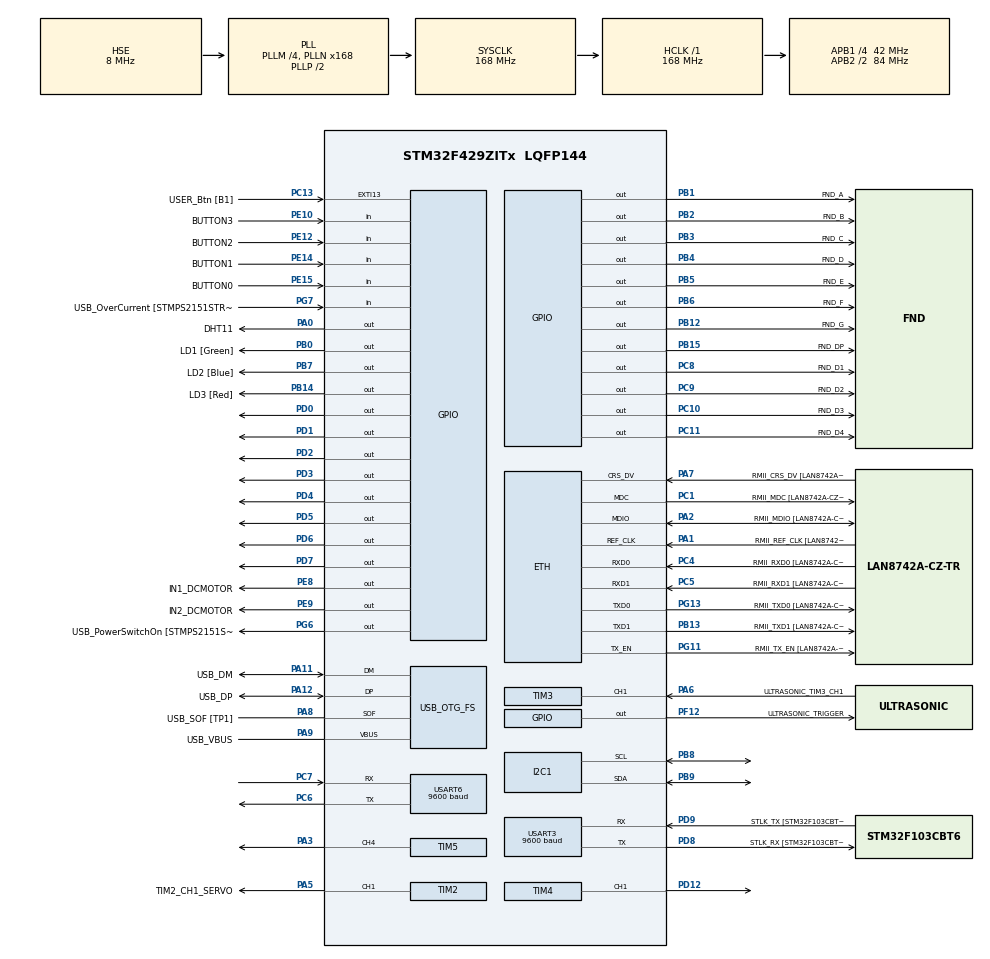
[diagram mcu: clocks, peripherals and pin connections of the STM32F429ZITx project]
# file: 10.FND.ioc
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ETH.MediaInterface=HAL_ETH_RMII_MODE
ETH.PHY_Name=LAN8742A_PHY_ADDRESS
ETH.PHY_Value=0
ETH.PhyAddress=0
Mcu.Family=STM32F4
Mcu.Name=STM32F429ZITx
Mcu.Package=LQFP144
NVIC.PriorityGroup=NVIC_PRIORITYGROUP_4
NVIC.TIM1_TRG_COM_TIM11_IRQn=true\:0\:0\:false\:false\:true\:true\:true\:true
NVIC.TIM1_UP_TIM10_IRQn=true\:0\:0\:false\:false\:true\:true\:true\:true
NVIC.TIM2_IRQn=true\:0\:0\:false\:false\:true\:true\:true\:true
NVIC.TIM3_IRQn=true\:0\:0\:false\:false\:true\:true\:true\:true
NVIC.TIM4_IRQn=true\:0\:0\:false\:false\:true\:true\:true\:true
NVIC.TIM5_IRQn=true\:0\:0\:false\:false\:true\:true\:true\:true
NVIC.USART3_IRQn=true\:0\:0\:false\:false\:true\:true\:true\:true
NVIC.USART6_IRQn=true\:0\:0\:false\:false\:true\:true\:true\:true
PA0/WKUP.GPIO_Label=DHT11
PA0/WKUP.Signal=GPIO_Output
PA1.GPIO_Label=RMII_REF_CLK [LAN8742A-CZ-TR_REFCLK0]
PA1.Mode=RMII
PA1.Signal=ETH_REF_CLK
PA10.GPIO_Label=USB_ID
PA10.Signal=USB_OTG_FS_ID
PA11.GPIO_Label=USB_DM
PA11.Mode=Device_Only
PA11.Signal=USB_OTG_FS_DM
PA12.GPIO_Label=USB_DP
PA12.Mode=Device_Only
PA12.Signal=USB_OTG_FS_DP
PA13.GPIO_Label=TMS
PA13.Mode=Serial_Wire
PA13.Signal=SYS_JTMS-SWDIO
PA14.GPIO_Label=TCK
PA14.Mode=Serial_Wire
PA14.Signal=SYS_JTCK-SWCLK
PA2.GPIO_Label=RMII_MDIO [LAN8742A-CZ-TR_MDIO]
PA2.Mode=RMII
PA2.Signal=ETH_MDIO
PA3.Signal=S_TIM5_CH4
PA5.GPIO_Label=TIM2_CH1_SERVO
PA5.Signal=S_TIM2_CH1_ETR
PA6.GPIO_Label=ULTRASONIC_TIM3_CH1
PA6.Signal=S_TIM3_CH1
PA7.GPIO_Label=RMII_CRS_DV [LAN8742A-CZ-TR_CRS_DV]
PA7.Mode=RMII
PA7.Signal=ETH_CRS_DV
PA8.GPIO_Label=USB_SOF [TP1]
PA8.Mode=Activate_SOF_FS
PA8.Signal=USB_OTG_FS_SOF
PA9.GPIO_Label=USB_VBUS
PA9.Mode=Activate_VBUS
PA9.Signal=USB_OTG_FS_VBUS
PB0.GPIO_Label=LD1 [Green]
PB0.Signal=GPIO_Output
PB1.GPIO_Label=FND_A
PB1.Signal=GPIO_Output
PB12.GPIO_Label=FND_G
PB12.Signal=GPIO_Output
PB13.GPIO_Label=RMII_TXD1 [LAN8742A-CZ-TR_TXD1]
PB13.Mode=RMII
PB13.Signal=ETH_TXD1
PB14.GPIO_Label=LD3 [Red]
PB14.Signal=GPIO_Output
PB15.GPIO_Label=FND_DP
PB15.Signal=GPIO_Output
PB2/BOOT1.GPIO_Label=FND_B
PB2/BOOT1.Signal=GPIO_Output
PB3.GPIO_Label=FND_C
PB3.Signal=GPIO_Output
PB4.GPIO_Label=FND_D
PB4.Signal=GPIO_Output
PB5.GPIO_Label=FND_E
PB5.Signal=GPIO_Output
PB6.GPIO_Label=FND_F
PB6.Signal=GPIO_Output
PB7.GPIO_Label=LD2 [Blue]
PB7.Signal=GPIO_Output
PB8.Mode=I2C
PB8.Signal=I2C1_SCL
PB9.Mode=I2C
PB9.Signal=I2C1_SDA
PC1.GPIO_Label=RMII_MDC [LAN8742A-CZ-TR_MDC]
PC1.Mode=RMII
PC1.Signal=ETH_MDC
PC10.GPIO_Label=FND_D3
PC10.Signal=GPIO_Output
PC11.GPIO_Label=FND_D4
PC11.Signal=GPIO_Output
PC13.GPIO_Label=USER_Btn [B1]
PC13.Signal=GPXTI13
PC14/OSC32_IN.Mode=LSE-External-Oscillator
PC14/OSC32_IN.Signal=RCC_OSC32_IN
PC15/OSC32_OUT.Mode=LSE-External-Oscillator
PC15/OSC32_OUT.Signal=RCC_OSC32_OUT
PC4.GPIO_Label=RMII_RXD0 [LAN8742A-CZ-TR_RXD0]
PC4.Mode=RMII
PC4.Signal=ETH_RXD0
PC5.GPIO_Label=RMII_RXD1 [LAN8742A-CZ-TR_RXD1]
PC5.Mode=RMII
PC5.Signal=ETH_RXD1
PC6.Mode=Asynchronous
PC6.Signal=USART6_TX
PC7.Mode=Asynchronous
PC7.Signal=USART6_RX
PC8.GPIO_Label=FND_D1
PC8.Signal=GPIO_Output
PC9.GPIO_Label=FND_D2
PC9.Signal=GPIO_Output
PD0.Signal=GPIO_Output
PD1.Signal=GPIO_Output
PD12.Signal=S_TIM4_CH1
PD2.Signal=GPIO_Output
PD3.Signal=GPIO_Output
PD4.Signal=GPIO_Output
PD5.Signal=GPIO_Output
PD6.Signal=GPIO_Output
PD7.Signal=GPIO_Output
PD8.GPIO_Label=STLK_RX [STM32F103CBT6_PA3]
PD8.Mode=Asynchronous
PD8.Signal=USART3_TX
PD9.GPIO_Label=STLK_TX [STM32F103CBT6_PA2]
PD9.Mode=Asynchronous
PD9.Signal=USART3_RX
PE10.GPIO_Label=BUTTON3
PE10.Signal=GPIO_Input
PE12.GPIO_Label=BUTTON2
PE12.Signal=GPIO_Input
PE14.GPIO_Label=BUTTON1
PE14.Signal=GPIO_Input
PE15.GPIO_Label=BUTTON0
PE15.Signal=GPIO_Input
PE8.GPIO_Label=IN1_DCMOTOR
PE8.Signal=GPIO_Output
PE9.GPIO_Label=IN2_DCMOTOR
PE9.Signal=GPIO_Output
PF12.GPIO_Label=ULTRASONIC_TRIGGER
PF12.Signal=GPIO_Output
PG11.GPIO_Label=RMII_TX_EN [LAN8742A-CZ-TR_TXEN]
PG11.Mode=RMII
PG11.Signal=ETH_TX_EN
PG13.GPIO_Label=RMII_TXD0 [LAN8742A-CZ-TR_TXD0]
PG13.Mode=RMII
PG13.Signal=ETH_TXD0
PG6.GPIO_Label=USB_PowerSwitchOn [STMPS2151STR_EN]
PG6.Signal=GPIO_Output
PG7.GPIO_Label=USB_OverCurrent [STMPS2151STR_FAULT]
PG7.Signal=GPIO_Input
PH0/OSC_IN.GPIO_Label=MCO [STM32F103CBT6_PA8]
PH0/OSC_IN.Mode=HSE-External-Clock-Source
PH0/OSC_IN.Signal=RCC_OSC_IN
PH1/OSC_OUT.Mode=HSE-External-Clock-Source
PH1/OSC_OUT.Signal=RCC_OSC_OUT
ProjectManager.HeapSize=0x200
ProjectManager.StackSize=0x400
ProjectManager.TargetToolchain=STM32CubeIDE
RCC.48MHZClocksFreq_Value=48000000
RCC.AHBFreq_Value=168000000
RCC.APB1CLKDivider=RCC_HCLK_DIV4
RCC.APB1Freq_Value=42000000
RCC.APB1TimFreq_Value=84000000
RCC.APB2CLKDivider=RCC_HCLK_DIV2
RCC.APB2Freq_Value=84000000
RCC.APB2TimCLKDivider=2
RCC.APB2TimFreq_Value=168000000
RCC.CortexFreq_Value=168000000
RCC.HCLKFreq_Value=168000000
RCC.HSE_VALUE=8000000
RCC.HSI_VALUE=16000000
RCC.PLLM=4
RCC.PLLMUL=RCC_PLL_MUL9
RCC.PLLN=168
RCC.PLLQ=7
RCC.PRESCALERUSB=RCC_USBCLKSOURCE_PLL_DIV1_5
RCC.SYSCLKFreq_VALUE=168000000
RCC.SYSCLKSource=RCC_SYSCLKSOURCE_PLLCLK
RCC.SYSCLKSourceVirtual=RCC_SYSCLKSOURCE_PLLCLK
RCC.USBFreq_Value=48000000
RCC.VCOOutputFreq_Value=336000000
RTC.Date=16
RTC.Format=RTC_FORMAT_BCD
RTC.Hours=9
RTC.Minutes=38
RTC.Month=RTC_MONTH_OCTOBER
RTC.Year=23
SH.S_TIM2_CH1_ETR.0=TIM2_CH1,PWM Generation1 CH1
SH.S_TIM3_CH1.0=TIM3_CH1,Input_Capture1_from_TI1
SH.S_TIM4_CH1.0=TIM4_CH1,PWM Generation1 CH1
SH.S_TIM5_CH4.0=TIM5_CH4,PWM Generation4 CH4
TIM10.Period=10000-1
TIM10.Prescaler=168-1
TIM11.Prescaler=168-1
TIM2.Channel-PWM\ Generation1\ CH1=TIM_CHANNEL_1
TIM2.Period=1000-1
TIM2.Prescaler=1680-1
TIM2.Pulse-PWM\ Generation1\ CH1=500-1
TIM3.Channel-Input_Capture1_from_TI1=TIM_CHANNEL_1
TIM3.ICPolarity_CH1=TIM_INPUTCHANNELPOLARITY_BOTHEDGE
TIM3.Prescaler=84-1
TIM4.Channel-PWM\ Generation1\ CH1=TIM_CHANNEL_1
TIM4.OCFastMode_PWM-PWM\ Generation1\ CH1=TIM_OCFAST_ENABLE
TIM4.Period=100-1
TIM4.Prescaler=840-1
TIM4.Pulse-PWM\ Generation1\ CH1=70-1
TIM5.Channel-PWM\ Generation4\ CH4=TIM_CHANNEL_4
TIM5.Period=400-1
TIM5.Prescaler=52.5-1
TIM5.Pulse-PWM\ Generation4\ CH4=200-1
USART3.BaudRate=9600
USART3.VirtualMode=VM_ASYNC
USART6.BaudRate=9600
USART6.VirtualMode=VM_ASYNC
USB_OTG_FS.VirtualMode=Device_Only
VP_RTC_VS_RTC_Activate.Mode=RTC_Enabled
VP_RTC_VS_RTC_Calendar.Mode=RTC_Calendar
VP_TIM10_VS_ClockSourceINT.Mode=Enable_Timer
VP_TIM11_VS_ClockSourceINT.Mode=Enable_Timer
VP_TIM4_VS_ClockSourceINT.Mode=Internal
VP_TIM5_VS_ClockSourceINT.Mode=Internal
board=NUCLEO-F429ZI

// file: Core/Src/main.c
/* USER CODE BEGIN Header */
/**
  ******************************************************************************
  * @file           : main.c
  * @brief          : Main program body
  ******************************************************************************
  * @attention
  *
  * Copyright (c) 2023 STMicroelectronics.
  * All rights reserved.
  *
  * This software is licensed under terms that can be found in the LICENSE file
  * in the root directory of this software component.
  * If no LICENSE file comes with this software, it is provided AS-IS.
  *
  ******************************************************************************
  */
/* USER CODE END Header */
#include "main.h"
#include "string.h"

ETH_TxPacketConfig TxConfig;
ETH_DMADescTypeDef  DMARxDscrTab[ETH_RX_DESC_CNT]; /* Ethernet Rx DMA Descriptors */
ETH_DMADescTypeDef  DMATxDscrTab[ETH_TX_DESC_CNT]; /* Ethernet Tx DMA Descriptors */

ETH_HandleTypeDef heth;

I2C_HandleTypeDef hi2c1;

RTC_HandleTypeDef hrtc;

TIM_HandleTypeDef htim2;
TIM_HandleTypeDef htim3;
TIM_HandleTypeDef htim4;
TIM_HandleTypeDef htim5;
TIM_HandleTypeDef htim10;
TIM_HandleTypeDef htim11;

UART_HandleTypeDef huart3;
UART_HandleTypeDef huart6;

PCD_HandleTypeDef hpcd_USB_OTG_FS;

/* USER CODE BEGIN PV */
uint8_t rx_data; // UART3 rx data
uint8_t bt_rx_data; // UART6 bluetooth(bt) rx data
/* USER CODE END PV */

void SystemClock_Config(void);
static void MX_GPIO_Init(void);
static void MX_ETH_Init(void);
static void MX_USART3_UART_Init(void);
static void MX_USB_OTG_FS_PCD_Init(void);
static void MX_USART6_UART_Init(void);
static void MX_TIM10_Init(void);
static void MX_TIM11_Init(void);
static void MX_TIM3_Init(void);
static void MX_I2C1_Init(void);
static void MX_TIM4_Init(void);
static void MX_TIM2_Init(void);
static void MX_RTC_Init(void);
static void MX_TIM5_Init(void);
/* USER CODE BEGIN PFP */
extern void led_main(void);
extern void button_main(void);
extern void pc_command_processing(void);
extern void bt_command_processing(void);

extern void DHT11_main(void);
extern void DHT11_Init(void);
extern void DHT11_processing(void);
extern void ultrasonic_processing(void);

extern void i2c_lcd_main(void);
extern void i2c_lcd_init(void);
extern void lcd_string(uint8_t *str);
extern void move_cursor(uint8_t row, uint8_t column);

extern void dcmotor_pwm_control(void);
extern void servo_motor_test_main(void);

extern void get_rtc(void);
extern void lcd_display_mode_select(void);
extern void set_time_button_UI(void);

extern void buzzer_main(void);
extern void fnd4digit_main(void);
extern void FND4digit_off(void);
extern void fnd4digit_sec_clock(void);

void delay_us (unsigned long us);
/* USER CODE END PFP */

/* USER CODE BEGIN 0 */
//--------------
// call by SysTick_Handler of stm32f4xx_it.c
// ARM default timer
// enter here every 1ms
volatile int t1ms_counter = 0;
volatile int fnd1ms_counter = 0;
void HAL_STSTICK_Handler(void)
{
	t1ms_counter++; // 1ms timer
	fnd1ms_counter++;
}

// move from Driver/STM32F4xx_HAL_Driver/stm32f4xx_hal_tim.c to here
// enter here when every timer interrupt occurs
volatile int TIM10_10ms_counter = 0;
volatile int TIM10_10ms_ultrasonic = 0;
void HAL_TIM_PeriodElapsedCallback(TIM_HandleTypeDef *htim)
{
	if (htim->Instance == TIM10)
	{
		TIM10_10ms_counter++; // timer for LED
		TIM10_10ms_ultrasonic++; // timer for ultrasonic trigger
	}
}

// function implement that extern from DHT11.c
void delay_us (unsigned long us)
{
	__HAL_TIM_SET_COUNTER(&htim11, 0); // tim11 clear // H/W counter...

	while(__HAL_TIM_GET_COUNTER(&htim11) < us)
		;

}

//----------  printf start ----------
#ifdef __GNUC__
/* With GCC, small printf (option LD Linker->Libraries->Small printf
   set to 'Yes') calls __io_putchar() */
#define PUTCHAR_PROTOTYPE int __io_putchar(int ch)
#else
#define PUTCHAR_PROTOTYPE int fputc(int ch, FILE *f)
#endif /* __GNUC_ */
/**
  * @brief  Retargets the C library printf function to the USART.
  * @param  None
  * @retval None
  */
PUTCHAR_PROTOTYPE   // Add for printf
{
  /* Place your implementation of fputc here */
  /* e.g. write a character to the USART3 and Loop until the end of transmission */
  HAL_UART_Transmit(&huart3, (uint8_t *)&ch, 1, 0xFFFF);

  return ch;
}
//----------  printf end ----------

/* USER CODE END 0 */

int main(void)
{

  /* MCU Configuration--------------------------------------------------------*/

  /* Reset of all peripherals, Initializes the Flash interface and the Systick. */
  HAL_Init();

  /* Configure the system clock */
  SystemClock_Config();

  /* Initialize all configured peripherals */
  MX_GPIO_Init();
  MX_ETH_Init();
  MX_USART3_UART_Init();
  MX_USB_OTG_FS_PCD_Init();
  MX_USART6_UART_Init();
  MX_TIM10_Init();
  MX_TIM11_Init();
  MX_TIM3_Init();
  MX_I2C1_Init();
  MX_TIM4_Init();
  MX_TIM2_Init();
  MX_RTC_Init();
  MX_TIM5_Init();
  /* USER CODE BEGIN 2 */
  printf("main() start!!\n");

  DHT11_Init();
  i2c_lcd_init();

  /////////////
  FND4digit_off(); // init for fnd4digit_sec_clock() on main()'s infinite while loop__add_kenGwon1017
  /////////////

  HAL_UART_Receive_IT(&huart3, &rx_data, 1); // RX huart3�???????????? ?��?��?��?�� interrupt ?��?��?��
  HAL_UART_Receive_IT(&huart6, &bt_rx_data, 1); // RX huart6�???????????? ?��?��?��?�� interrupt ?��?��?��

  HAL_TIM_Base_Start_IT(&htim10); // add_kenGwon_1011
  HAL_TIM_Base_Start_IT(&htim11); // add_kenGwon_1011
  HAL_TIM_IC_Start_IT(&htim3, TIM_CHANNEL_1); // for count pulse(InputCapture between rising edge & falling edge) add_kenGwon_1012
  HAL_TIM_PWM_Start_IT(&htim4, TIM_CHANNEL_1); // for DC motor PWM control add_kenGwon_1013
  HAL_TIM_PWM_Start(&htim2, TIM_CHANNEL_1); //for SERVO motor PWM control add_kenGwon_1013

  HAL_TIM_PWM_Start(&htim5, TIM_CHANNEL_4); // for buzzer PWM control add_kenGwon_1016
  /* USER CODE END 2 */

  /* Infinite loop */
  /* USER CODE BEGIN WHILE */

//  led_main();
//  i2c_lcd_main();
//  DHT11_main();
//  servo_motor_test_main();
//  buzzer_main();
//  fnd4digit_main();

  TIM10_10ms_counter = 0;

  while (1)
  {
	  DHT11_processing();
	  ultrasonic_processing();

	  pc_command_processing();
	  bt_command_processing();

//	  dcmotor_pwm_control();

	  get_rtc();

	  lcd_display_mode_select();
	  set_time_button_UI();

	  fnd4digit_sec_clock();

    /* USER CODE END WHILE */

  }
}

void SystemClock_Config(void)
{
  RCC_OscInitTypeDef RCC_OscInitStruct = {0};
  RCC_ClkInitTypeDef RCC_ClkInitStruct = {0};

  /** Configure the main internal regulator output voltage
  */
  __HAL_RCC_PWR_CLK_ENABLE();
  __HAL_PWR_VOLTAGESCALING_CONFIG(PWR_REGULATOR_VOLTAGE_SCALE1);

  /** Initializes the RCC Oscillators according to the specified parameters
  * in the RCC_OscInitTypeDef structure.
  */
  RCC_OscInitStruct.OscillatorType = RCC_OSCILLATORTYPE_LSI|RCC_OSCILLATORTYPE_HSE;
  RCC_OscInitStruct.HSEState = RCC_HSE_BYPASS;
  RCC_OscInitStruct.LSIState = RCC_LSI_ON;
  RCC_OscInitStruct.PLL.PLLState = RCC_PLL_ON;
  RCC_OscInitStruct.PLL.PLLSource = RCC_PLLSOURCE_HSE;
  RCC_OscInitStruct.PLL.PLLM = 4;
  RCC_OscInitStruct.PLL.PLLN = 168;
  RCC_OscInitStruct.PLL.PLLP = RCC_PLLP_DIV2;
  RCC_OscInitStruct.PLL.PLLQ = 7;
  if (HAL_RCC_OscConfig(&RCC_OscInitStruct) != HAL_OK)
  {
    Error_Handler();
  }

  /** Initializes the CPU, AHB and APB buses clocks
  */
  RCC_ClkInitStruct.ClockType = RCC_CLOCKTYPE_HCLK|RCC_CLOCKTYPE_SYSCLK
                              |RCC_CLOCKTYPE_PCLK1|RCC_CLOCKTYPE_PCLK2;
  RCC_ClkInitStruct.SYSCLKSource = RCC_SYSCLKSOURCE_PLLCLK;
  RCC_ClkInitStruct.AHBCLKDivider = RCC_SYSCLK_DIV1;
  RCC_ClkInitStruct.APB1CLKDivider = RCC_HCLK_DIV4;
  RCC_ClkInitStruct.APB2CLKDivider = RCC_HCLK_DIV2;

  if (HAL_RCC_ClockConfig(&RCC_ClkInitStruct, FLASH_LATENCY_5) != HAL_OK)
  {
    Error_Handler();
  }
}

static void MX_ETH_Init(void)
{

   static uint8_t MACAddr[6];

  heth.Instance = ETH;
  MACAddr[0] = 0x00;
  MACAddr[1] = 0x80;
  MACAddr[2] = 0xE1;
  MACAddr[3] = 0x00;
  MACAddr[4] = 0x00;
  MACAddr[5] = 0x00;
  heth.Init.MACAddr = &MACAddr[0];
  heth.Init.MediaInterface = HAL_ETH_RMII_MODE;
  heth.Init.TxDesc = DMATxDscrTab;
  heth.Init.RxDesc = DMARxDscrTab;
  heth.Init.RxBuffLen = 1524;

  if (HAL_ETH_Init(&heth) != HAL_OK)
  {
    Error_Handler();
  }

  memset(&TxConfig, 0 , sizeof(ETH_TxPacketConfig));
  TxConfig.Attributes = ETH_TX_PACKETS_FEATURES_CSUM | ETH_TX_PACKETS_FEATURES_CRCPAD;
  TxConfig.ChecksumCtrl = ETH_CHECKSUM_IPHDR_PAYLOAD_INSERT_PHDR_CALC;
  TxConfig.CRCPadCtrl = ETH_CRC_PAD_INSERT;

}

static void MX_I2C1_Init(void)
{

  hi2c1.Instance = I2C1;
  hi2c1.Init.ClockSpeed = 100000;
  hi2c1.Init.DutyCycle = I2C_DUTYCYCLE_2;
  hi2c1.Init.OwnAddress1 = 0;
  hi2c1.Init.AddressingMode = I2C_ADDRESSINGMODE_7BIT;
  hi2c1.Init.DualAddressMode = I2C_DUALADDRESS_DISABLE;
  hi2c1.Init.OwnAddress2 = 0;
  hi2c1.Init.GeneralCallMode = I2C_GENERALCALL_DISABLE;
  hi2c1.Init.NoStretchMode = I2C_NOSTRETCH_DISABLE;
  if (HAL_I2C_Init(&hi2c1) != HAL_OK)
  {
    Error_Handler();
  }

  /** Configure Analogue filter
  */
  if (HAL_I2CEx_ConfigAnalogFilter(&hi2c1, I2C_ANALOGFILTER_ENABLE) != HAL_OK)
  {
    Error_Handler();
  }

  /** Configure Digital filter
  */
  if (HAL_I2CEx_ConfigDigitalFilter(&hi2c1, 0) != HAL_OK)
  {
    Error_Handler();
  }

}

static void MX_RTC_Init(void)
{

  RTC_TimeTypeDef sTime = {0};
  RTC_DateTypeDef sDate = {0};

  /** Initialize RTC Only
  */
  hrtc.Instance = RTC;
  hrtc.Init.HourFormat = RTC_HOURFORMAT_24;
  hrtc.Init.AsynchPrediv = 127;
  hrtc.Init.SynchPrediv = 255;
  hrtc.Init.OutPut = RTC_OUTPUT_DISABLE;
  hrtc.Init.OutPutPolarity = RTC_OUTPUT_POLARITY_HIGH;
  hrtc.Init.OutPutType = RTC_OUTPUT_TYPE_OPENDRAIN;
  if (HAL_RTC_Init(&hrtc) != HAL_OK)
  {
    Error_Handler();
  }

  /** Initialize RTC and set the Time and Date
  */
  sTime.Hours = 0x9;
  sTime.Minutes = 0x38;
  sTime.Seconds = 0x0;
  sTime.DayLightSaving = RTC_DAYLIGHTSAVING_NONE;
  sTime.StoreOperation = RTC_STOREOPERATION_RESET;
  if (HAL_RTC_SetTime(&hrtc, &sTime, RTC_FORMAT_BCD) != HAL_OK)
  {
    Error_Handler();
  }
  sDate.WeekDay = RTC_WEEKDAY_MONDAY;
  sDate.Month = RTC_MONTH_OCTOBER;
  sDate.Date = 0x16;
  sDate.Year = 0x23;

  if (HAL_RTC_SetDate(&hrtc, &sDate, RTC_FORMAT_BCD) != HAL_OK)
  {
    Error_Handler();
  }

}

static void MX_TIM2_Init(void)
{

  TIM_MasterConfigTypeDef sMasterConfig = {0};
  TIM_OC_InitTypeDef sConfigOC = {0};

  htim2.Instance = TIM2;
  htim2.Init.Prescaler = 1680-1;
  htim2.Init.CounterMode = TIM_COUNTERMODE_UP;
  htim2.Init.Period = 1000-1;
  htim2.Init.ClockDivision = TIM_CLOCKDIVISION_DIV1;
  htim2.Init.AutoReloadPreload = TIM_AUTORELOAD_PRELOAD_DISABLE;
  if (HAL_TIM_PWM_Init(&htim2) != HAL_OK)
  {
    Error_Handler();
  }
  sMasterConfig.MasterOutputTrigger = TIM_TRGO_RESET;
  sMasterConfig.MasterSlaveMode = TIM_MASTERSLAVEMODE_DISABLE;
  if (HAL_TIMEx_MasterConfigSynchronization(&htim2, &sMasterConfig) != HAL_OK)
  {
    Error_Handler();
  }
  sConfigOC.OCMode = TIM_OCMODE_PWM1;
  sConfigOC.Pulse = 500-1;
  sConfigOC.OCPolarity = TIM_OCPOLARITY_HIGH;
  sConfigOC.OCFastMode = TIM_OCFAST_DISABLE;
  if (HAL_TIM_PWM_ConfigChannel(&htim2, &sConfigOC, TIM_CHANNEL_1) != HAL_OK)
  {
    Error_Handler();
  }
  HAL_TIM_MspPostInit(&htim2);

}

static void MX_TIM3_Init(void)
{

  TIM_MasterConfigTypeDef sMasterConfig = {0};
  TIM_IC_InitTypeDef sConfigIC = {0};

  htim3.Instance = TIM3;
  htim3.Init.Prescaler = 84-1;
  htim3.Init.CounterMode = TIM_COUNTERMODE_UP;
  htim3.Init.Period = 65535;
  htim3.Init.ClockDivision = TIM_CLOCKDIVISION_DIV1;
  htim3.Init.AutoReloadPreload = TIM_AUTORELOAD_PRELOAD_DISABLE;
  if (HAL_TIM_IC_Init(&htim3) != HAL_OK)
  {
    Error_Handler();
  }
  sMasterConfig.MasterOutputTrigger = TIM_TRGO_RESET;
  sMasterConfig.MasterSlaveMode = TIM_MASTERSLAVEMODE_DISABLE;
  if (HAL_TIMEx_MasterConfigSynchronization(&htim3, &sMasterConfig) != HAL_OK)
  {
    Error_Handler();
  }
  sConfigIC.ICPolarity = TIM_INPUTCHANNELPOLARITY_BOTHEDGE;
  sConfigIC.ICSelection = TIM_ICSELECTION_DIRECTTI;
  sConfigIC.ICPrescaler = TIM_ICPSC_DIV1;
  sConfigIC.ICFilter = 0;
  if (HAL_TIM_IC_ConfigChannel(&htim3, &sConfigIC, TIM_CHANNEL_1) != HAL_OK)
  {
    Error_Handler();
  }

}

static void MX_TIM4_Init(void)
{

  TIM_ClockConfigTypeDef sClockSourceConfig = {0};
  TIM_MasterConfigTypeDef sMasterConfig = {0};
  TIM_OC_InitTypeDef sConfigOC = {0};

  htim4.Instance = TIM4;
  htim4.Init.Prescaler = 840-1;
  htim4.Init.CounterMode = TIM_COUNTERMODE_UP;
  htim4.Init.Period = 100-1;
  htim4.Init.ClockDivision = TIM_CLOCKDIVISION_DIV1;
  htim4.Init.AutoReloadPreload = TIM_AUTORELOAD_PRELOAD_DISABLE;
  if (HAL_TIM_Base_Init(&htim4) != HAL_OK)
  {
    Error_Handler();
  }
  sClockSourceConfig.ClockSource = TIM_CLOCKSOURCE_INTERNAL;
  if (HAL_TIM_ConfigClockSource(&htim4, &sClockSourceConfig) != HAL_OK)
  {
    Error_Handler();
  }
  if (HAL_TIM_PWM_Init(&htim4) != HAL_OK)
  {
    Error_Handler();
  }
  sMasterConfig.MasterOutputTrigger = TIM_TRGO_RESET;
  sMasterConfig.MasterSlaveMode = TIM_MASTERSLAVEMODE_DISABLE;
  if (HAL_TIMEx_MasterConfigSynchronization(&htim4, &sMasterConfig) != HAL_OK)
  {
    Error_Handler();
  }
  sConfigOC.OCMode = TIM_OCMODE_PWM1;
  sConfigOC.Pulse = 70-1;
  sConfigOC.OCPolarity = TIM_OCPOLARITY_HIGH;
  sConfigOC.OCFastMode = TIM_OCFAST_ENABLE;
  if (HAL_TIM_PWM_ConfigChannel(&htim4, &sConfigOC, TIM_CHANNEL_1) != HAL_OK)
  {
    Error_Handler();
  }
  HAL_TIM_MspPostInit(&htim4);

}

static void MX_TIM5_Init(void)
{

  TIM_ClockConfigTypeDef sClockSourceConfig = {0};
  TIM_MasterConfigTypeDef sMasterConfig = {0};
  TIM_OC_InitTypeDef sConfigOC = {0};

  htim5.Instance = TIM5;
  htim5.Init.Prescaler = 52.5-1;
  htim5.Init.CounterMode = TIM_COUNTERMODE_UP;
  htim5.Init.Period = 400-1;
  htim5.Init.ClockDivision = TIM_CLOCKDIVISION_DIV1;
  htim5.Init.AutoReloadPreload = TIM_AUTORELOAD_PRELOAD_DISABLE;
  if (HAL_TIM_Base_Init(&htim5) != HAL_OK)
  {
    Error_Handler();
  }
  sClockSourceConfig.ClockSource = TIM_CLOCKSOURCE_INTERNAL;
  if (HAL_TIM_ConfigClockSource(&htim5, &sClockSourceConfig) != HAL_OK)
  {
    Error_Handler();
  }
  if (HAL_TIM_PWM_Init(&htim5) != HAL_OK)
  {
    Error_Handler();
  }
  sMasterConfig.MasterOutputTrigger = TIM_TRGO_RESET;
  sMasterConfig.MasterSlaveMode = TIM_MASTERSLAVEMODE_DISABLE;
  if (HAL_TIMEx_MasterConfigSynchronization(&htim5, &sMasterConfig) != HAL_OK)
  {
    Error_Handler();
  }
  sConfigOC.OCMode = TIM_OCMODE_PWM1;
  sConfigOC.Pulse = 200-1;
  sConfigOC.OCPolarity = TIM_OCPOLARITY_HIGH;
  sConfigOC.OCFastMode = TIM_OCFAST_DISABLE;
  if (HAL_TIM_PWM_ConfigChannel(&htim5, &sConfigOC, TIM_CHANNEL_4) != HAL_OK)
  {
    Error_Handler();
  }
  HAL_TIM_MspPostInit(&htim5);

}

static void MX_TIM10_Init(void)
{

  htim10.Instance = TIM10;
  htim10.Init.Prescaler = 168-1;
  htim10.Init.CounterMode = TIM_COUNTERMODE_UP;
  htim10.Init.Period = 10000-1;
  htim10.Init.ClockDivision = TIM_CLOCKDIVISION_DIV1;
  htim10.Init.AutoReloadPreload = TIM_AUTORELOAD_PRELOAD_DISABLE;
  if (HAL_TIM_Base_Init(&htim10) != HAL_OK)
  {
    Error_Handler();
  }

}

static void MX_TIM11_Init(void)
{

  htim11.Instance = TIM11;
  htim11.Init.Prescaler = 168-1;
  htim11.Init.CounterMode = TIM_COUNTERMODE_UP;
  htim11.Init.Period = 65535;
  htim11.Init.ClockDivision = TIM_CLOCKDIVISION_DIV1;
  htim11.Init.AutoReloadPreload = TIM_AUTORELOAD_PRELOAD_DISABLE;
  if (HAL_TIM_Base_Init(&htim11) != HAL_OK)
  {
    Error_Handler();
  }

}

static void MX_USART3_UART_Init(void)
{

  huart3.Instance = USART3;
  huart3.Init.BaudRate = 9600;
  huart3.Init.WordLength = UART_WORDLENGTH_8B;
  huart3.Init.StopBits = UART_STOPBITS_1;
  huart3.Init.Parity = UART_PARITY_NONE;
  huart3.Init.Mode = UART_MODE_TX_RX;
  huart3.Init.HwFlowCtl = UART_HWCONTROL_NONE;
  huart3.Init.OverSampling = UART_OVERSAMPLING_16;
  if (HAL_UART_Init(&huart3) != HAL_OK)
  {
    Error_Handler();
  }

}

static void MX_USART6_UART_Init(void)
{

  huart6.Instance = USART6;
  huart6.Init.BaudRate = 9600;
  huart6.Init.WordLength = UART_WORDLENGTH_8B;
  huart6.Init.StopBits = UART_STOPBITS_1;
  huart6.Init.Parity = UART_PARITY_NONE;
  huart6.Init.Mode = UART_MODE_TX_RX;
  huart6.Init.HwFlowCtl = UART_HWCONTROL_NONE;
  huart6.Init.OverSampling = UART_OVERSAMPLING_16;
  if (HAL_UART_Init(&huart6) != HAL_OK)
  {
    Error_Handler();
  }

}

static void MX_USB_OTG_FS_PCD_Init(void)
{

  hpcd_USB_OTG_FS.Instance = USB_OTG_FS;
  hpcd_USB_OTG_FS.Init.dev_endpoints = 4;
  hpcd_USB_OTG_FS.Init.speed = PCD_SPEED_FULL;
  hpcd_USB_OTG_FS.Init.dma_enable = DISABLE;
  hpcd_USB_OTG_FS.Init.phy_itface = PCD_PHY_EMBEDDED;
  hpcd_USB_OTG_FS.Init.Sof_enable = ENABLE;
  hpcd_USB_OTG_FS.Init.low_power_enable = DISABLE;
  hpcd_USB_OTG_FS.Init.lpm_enable = DISABLE;
  hpcd_USB_OTG_FS.Init.vbus_sensing_enable = ENABLE;
  hpcd_USB_OTG_FS.Init.use_dedicated_ep1 = DISABLE;
  if (HAL_PCD_Init(&hpcd_USB_OTG_FS) != HAL_OK)
  {
    Error_Handler();
  }

}

static void MX_GPIO_Init(void)
{
  GPIO_InitTypeDef GPIO_InitStruct = {0};

  /* GPIO Ports Clock Enable */
  __HAL_RCC_GPIOC_CLK_ENABLE();
  __HAL_RCC_GPIOH_CLK_ENABLE();
  __HAL_RCC_GPIOA_CLK_ENABLE();
  __HAL_RCC_GPIOB_CLK_ENABLE();
  __HAL_RCC_GPIOF_CLK_ENABLE();
  __HAL_RCC_GPIOE_CLK_ENABLE();
  __HAL_RCC_GPIOD_CLK_ENABLE();
  __HAL_RCC_GPIOG_CLK_ENABLE();

  /*Configure GPIO pin Output Level */
  HAL_GPIO_WritePin(DHT11_GPIO_Port, DHT11_Pin, GPIO_PIN_RESET);

  /*Configure GPIO pin Output Level */
  HAL_GPIO_WritePin(GPIOB, LD1_Pin|FND_A_Pin|FND_B_Pin|FND_G_Pin
                          |LD3_Pin|FND_DP_Pin|FND_C_Pin|FND_D_Pin
                          |FND_E_Pin|FND_F_Pin|LD2_Pin, GPIO_PIN_RESET);

  /*Configure GPIO pin Output Level */
  HAL_GPIO_WritePin(ULTRASONIC_TRIGGER_GPIO_Port, ULTRASONIC_TRIGGER_Pin, GPIO_PIN_RESET);

  /*Configure GPIO pin Output Level */
  HAL_GPIO_WritePin(GPIOE, IN1_DCMOTOR_Pin|IN2_DCMOTOR_Pin, GPIO_PIN_RESET);

  /*Configure GPIO pin Output Level */
  HAL_GPIO_WritePin(USB_PowerSwitchOn_GPIO_Port, USB_PowerSwitchOn_Pin, GPIO_PIN_RESET);

  /*Configure GPIO pin Output Level */
  HAL_GPIO_WritePin(GPIOC, FND_D1_Pin|FND_D2_Pin|FND_D3_Pin|FND_D4_Pin, GPIO_PIN_RESET);

  /*Configure GPIO pin Output Level */
  HAL_GPIO_WritePin(GPIOD, GPIO_PIN_0|GPIO_PIN_1|GPIO_PIN_2|GPIO_PIN_3
                          |GPIO_PIN_4|GPIO_PIN_5|GPIO_PIN_6|GPIO_PIN_7, GPIO_PIN_RESET);

  /*Configure GPIO pin : USER_Btn_Pin */
  GPIO_InitStruct.Pin = USER_Btn_Pin;
  GPIO_InitStruct.Mode = GPIO_MODE_IT_RISING;
  GPIO_InitStruct.Pull = GPIO_NOPULL;
  HAL_GPIO_Init(USER_Btn_GPIO_Port, &GPIO_InitStruct);

  /*Configure GPIO pin : DHT11_Pin */
  GPIO_InitStruct.Pin = DHT11_Pin;
  GPIO_InitStruct.Mode = GPIO_MODE_OUTPUT_PP;
  GPIO_InitStruct.Pull = GPIO_NOPULL;
  GPIO_InitStruct.Speed = GPIO_SPEED_FREQ_LOW;
  HAL_GPIO_Init(DHT11_GPIO_Port, &GPIO_InitStruct);

  /*Configure GPIO pins : LD1_Pin FND_A_Pin FND_B_Pin FND_G_Pin
                           LD3_Pin FND_DP_Pin FND_C_Pin FND_D_Pin
                           FND_E_Pin FND_F_Pin LD2_Pin */
  GPIO_InitStruct.Pin = LD1_Pin|FND_A_Pin|FND_B_Pin|FND_G_Pin
                          |LD3_Pin|FND_DP_Pin|FND_C_Pin|FND_D_Pin
                          |FND_E_Pin|FND_F_Pin|LD2_Pin;
  GPIO_InitStruct.Mode = GPIO_MODE_OUTPUT_PP;
  GPIO_InitStruct.Pull = GPIO_NOPULL;
  GPIO_InitStruct.Speed = GPIO_SPEED_FREQ_LOW;
  HAL_GPIO_Init(GPIOB, &GPIO_InitStruct);

  /*Configure GPIO pin : ULTRASONIC_TRIGGER_Pin */
  GPIO_InitStruct.Pin = ULTRASONIC_TRIGGER_Pin;
  GPIO_InitStruct.Mode = GPIO_MODE_OUTPUT_PP;
  GPIO_InitStruct.Pull = GPIO_NOPULL;
  GPIO_InitStruct.Speed = GPIO_SPEED_FREQ_LOW;
  HAL_GPIO_Init(ULTRASONIC_TRIGGER_GPIO_Port, &GPIO_InitStruct);

  /*Configure GPIO pins : IN1_DCMOTOR_Pin IN2_DCMOTOR_Pin */
  GPIO_InitStruct.Pin = IN1_DCMOTOR_Pin|IN2_DCMOTOR_Pin;
  GPIO_InitStruct.Mode = GPIO_MODE_OUTPUT_PP;
  GPIO_InitStruct.Pull = GPIO_NOPULL;
  GPIO_InitStruct.Speed = GPIO_SPEED_FREQ_LOW;
  HAL_GPIO_Init(GPIOE, &GPIO_InitStruct);

  /*Configure GPIO pins : BUTTON3_Pin BUTTON2_Pin BUTTON1_Pin BUTTON0_Pin */
  GPIO_InitStruct.Pin = BUTTON3_Pin|BUTTON2_Pin|BUTTON1_Pin|BUTTON0_Pin;
  GPIO_InitStruct.Mode = GPIO_MODE_INPUT;
  GPIO_InitStruct.Pull = GPIO_NOPULL;
  HAL_GPIO_Init(GPIOE, &GPIO_InitStruct);

  /*Configure GPIO pin : USB_PowerSwitchOn_Pin */
  GPIO_InitStruct.Pin = USB_PowerSwitchOn_Pin;
  GPIO_InitStruct.Mode = GPIO_MODE_OUTPUT_PP;
  GPIO_InitStruct.Pull = GPIO_NOPULL;
  GPIO_InitStruct.Speed = GPIO_SPEED_FREQ_LOW;
  HAL_GPIO_Init(USB_PowerSwitchOn_GPIO_Port, &GPIO_InitStruct);

  /*Configure GPIO pin : USB_OverCurrent_Pin */
  GPIO_InitStruct.Pin = USB_OverCurrent_Pin;
  GPIO_InitStruct.Mode = GPIO_MODE_INPUT;
  GPIO_InitStruct.Pull = GPIO_NOPULL;
  HAL_GPIO_Init(USB_OverCurrent_GPIO_Port, &GPIO_InitStruct);

  /*Configure GPIO pins : FND_D1_Pin FND_D2_Pin FND_D3_Pin FND_D4_Pin */
  GPIO_InitStruct.Pin = FND_D1_Pin|FND_D2_Pin|FND_D3_Pin|FND_D4_Pin;
  GPIO_InitStruct.Mode = GPIO_MODE_OUTPUT_PP;
  GPIO_InitStruct.Pull = GPIO_NOPULL;
  GPIO_InitStruct.Speed = GPIO_SPEED_FREQ_LOW;
  HAL_GPIO_Init(GPIOC, &GPIO_InitStruct);

  /*Configure GPIO pins : PD0 PD1 PD2 PD3
                           PD4 PD5 PD6 PD7 */
  GPIO_InitStruct.Pin = GPIO_PIN_0|GPIO_PIN_1|GPIO_PIN_2|GPIO_PIN_3
                          |GPIO_PIN_4|GPIO_PIN_5|GPIO_PIN_6|GPIO_PIN_7;
  GPIO_InitStruct.Mode = GPIO_MODE_OUTPUT_PP;
  GPIO_InitStruct.Pull = GPIO_NOPULL;
  GPIO_InitStruct.Speed = GPIO_SPEED_FREQ_LOW;
  HAL_GPIO_Init(GPIOD, &GPIO_InitStruct);

}

void Error_Handler(void)
{
  __disable_irq();
  while (1)
  {
  }
}
